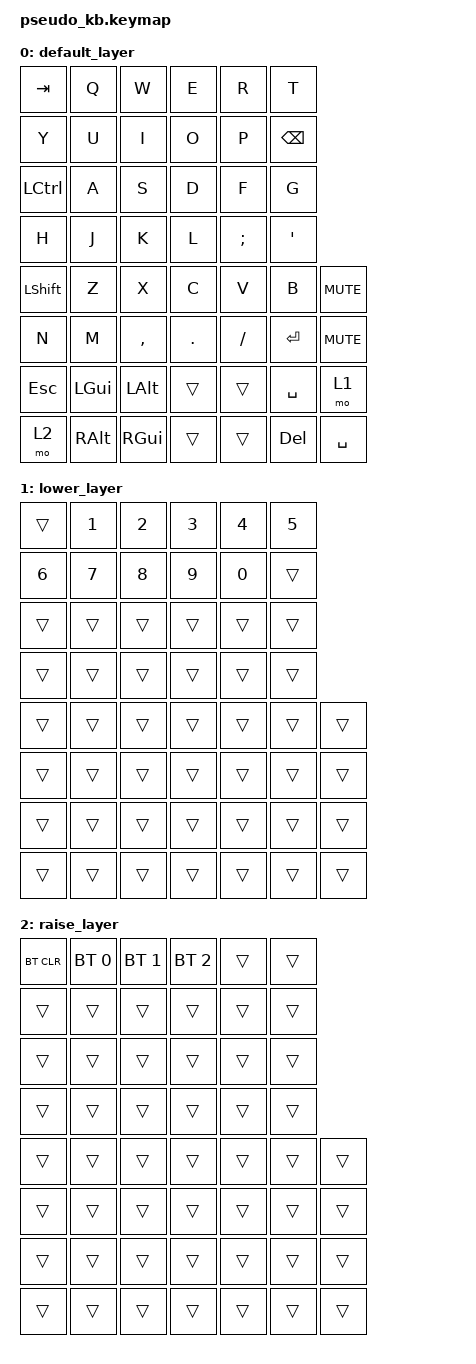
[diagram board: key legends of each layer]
#include <behaviors.dtsi>
#include <dt-bindings/zmk/keys.h>
#include <dt-bindings/zmk/bt.h>

// Transform binding index map (52 keys per layer):
//
// [0..11]  Row 3 top:    L outer→inner (TAB Q W E R T) | R inner→outer (Y U I O P BSPC)
// [12..23] Row 2 home:   L (CTRL A S D F G)            | R (H J K L ; ')
// [24..37] Row 1 bottom: L outer→enc_push (SHFT Z X C V B ENC) | R (N M , . / RET ENC)
// [38..51] Row 0 utils:  L (ESC GUI ALT _ _ SPC MO1)   | R (MO2 _ _ _ _ DEL SPC)
//
// Left col order (overlay): C0→col0 … C5→col5, C6→col6
// Right col order (overlay): C5→col7, C4→col8, C3→col9, C2→col10, C1→col11, C0→col12, C6→col13
//
// NOTE: sensor-bindings (encoder rotation) are omitted here because the dongle has no
// sensors node. Add encoder rotation support once ZMK split-sensor forwarding is wired up.

/ {
    keymap {
        compatible = "zmk,keymap";

        default_layer {
            bindings = <
                // ── Row 3: top letter row ──────────────────────────────────────────────────
                &kp TAB    &kp Q     &kp W     &kp E     &kp R     &kp T
                &kp Y      &kp U     &kp I     &kp O     &kp P     &kp BSPC
                // ── Row 2: home row ────────────────────────────────────────────────────────
                &kp LCTRL  &kp A     &kp S     &kp D     &kp F     &kp G
                &kp H      &kp J     &kp K     &kp L     &kp SEMI  &kp SQT
                // ── Row 1: bottom row (7 left + 7 right, last key each side = enc push) ───
                &kp LSHFT  &kp Z     &kp X     &kp C     &kp V     &kp B     &kp C_MUTE
                &kp N      &kp M     &kp COMMA &kp DOT   &kp FSLH  &kp RET   &kp C_MUTE
                // ── Row 0: utils row + thumbfan (7 left + 7 right) ────────────────────────
                // Left:  outer-utils pinky-utils ring-utils mid-utils idx-utils thumb-home  thumb-far
                &kp ESC    &kp LGUI  &kp LALT  &trans    &trans    &kp SPACE &mo 1
                // Right: thumb-home  idx-utils  mid-utils  ring-utils pnky-utils outer-utils thumb-far
                &mo 2      &kp RALT  &kp RGUI  &trans    &trans    &kp DEL   &kp SPACE
            >;
        };

        lower_layer {
            bindings = <
                // Row 3
                &trans     &kp N1    &kp N2    &kp N3    &kp N4    &kp N5
                &kp N6     &kp N7    &kp N8    &kp N9    &kp N0    &trans
                // Row 2
                &trans     &trans    &trans    &trans    &trans    &trans
                &trans     &trans    &trans    &trans    &trans    &trans
                // Row 1
                &trans     &trans    &trans    &trans    &trans    &trans    &trans
                &trans     &trans    &trans    &trans    &trans    &trans    &trans
                // Row 0
                &trans     &trans    &trans    &trans    &trans    &trans    &trans
                &trans     &trans    &trans    &trans    &trans    &trans    &trans
            >;
        };

        raise_layer {
            bindings = <
                // Row 3
                &bt BT_CLR &bt BT_SEL 0 &bt BT_SEL 1 &bt BT_SEL 2 &trans &trans
                &trans     &trans    &trans    &trans    &trans    &trans
                // Row 2
                &trans     &trans    &trans    &trans    &trans    &trans
                &trans     &trans    &trans    &trans    &trans    &trans
                // Row 1
                &trans     &trans    &trans    &trans    &trans    &trans    &trans
                &trans     &trans    &trans    &trans    &trans    &trans    &trans
                // Row 0
                &trans     &trans    &trans    &trans    &trans    &trans    &trans
                &trans     &trans    &trans    &trans    &trans    &trans    &trans
            >;
        };
    };
};
